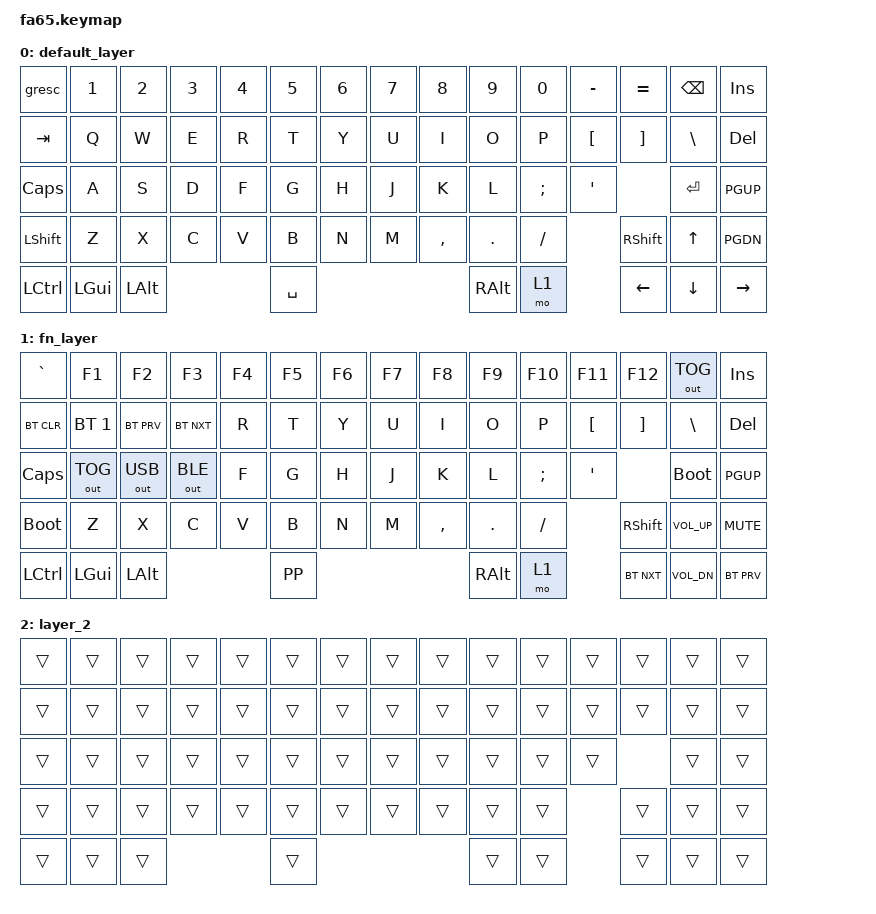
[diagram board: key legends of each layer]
/*
 * Copyright (c) 2020 The ZMK Contributors
 *
 * SPDX-License-Identifier: MIT
 */

#include <behaviors.dtsi>
#include <dt-bindings/zmk/bt.h>
#include <dt-bindings/zmk/keys.h>
#include <dt-bindings/zmk/outputs.h>

/ {
    keymap0: keymap {
        compatible = "zmk,keymap";

        default_layer {
            // ------------------------------------------------------------------------------------------
            // | ESC |  1  |  2  |  3  |  4  |  5  |  6  |  7  |  8  |  9  |  0  |  -  |  =  |   BKSP   |
            // | TAB  |  Q  |  W  |  E  |  R  |  T  |  Y  |  U  |  I  |  O  |  P  |  [  |  ]  |    \    |
            // | CAPS  |  A  |  S  |  D  |  F  |  G  |  H  |  J  |  K  |  L  |  ;  |  '  |     ENTER    |
            // |  SHIFT  |  Z  |  X  |  C  |  V  |  B  |  N  |  M  |  ,  |  .  |  /  |      SHIFT       |
            // |  CTL  |  WIN  |  ALT  |            SPACE               | ALT | MO(1) |  WIN  | CTRL    |
            // ------------------------------------------------------------------------------------------

            bindings = <
&gresc     &kp N1    &kp N2    &kp N3  &kp N4  &kp N5     &kp N6  &kp N7  &kp N8     &kp N9    &kp N0    &kp MINUS  &kp EQUAL  &kp BSPC  &kp INS
&kp TAB    &kp Q     &kp W     &kp E   &kp R   &kp T      &kp Y   &kp U   &kp I      &kp O     &kp P     &kp LBKT   &kp RBKT   &kp BSLH  &kp DEL
&kp CLCK   &kp A     &kp S     &kp D   &kp F   &kp G      &kp H   &kp J   &kp K      &kp L     &kp SEMI  &kp SQT               &kp RET   &kp PGUP
&kp LSHFT  &kp Z     &kp X     &kp C   &kp V   &kp B      &kp N   &kp M   &kp COMMA  &kp DOT   &kp FSLH             &kp RSHFT  &kp UP    &kp PGDN
&kp LCTRL  &kp LGUI  &kp LALT                  &kp SPACE                             &kp RALT  &mo 1                &kp LEFT   &kp DOWN  &kp RIGHT
            >;
        };

        fn_layer {
            bindings = <
&kp GRAVE    &kp F1        &kp F2        &kp F3        &kp F4  &kp F5    &kp F6  &kp F7  &kp F8     &kp F9    &kp F10   &kp F11   &kp F12     &out OUT_TOG  &kp INS
&bt BT_CLR   &bt BT_SEL 1  &bt BT_PRV    &bt BT_NXT    &kp R   &kp T     &kp Y   &kp U   &kp I      &kp O     &kp P     &kp LBKT  &kp RBKT    &kp BSLH      &kp DEL
&kp CLCK     &out OUT_TOG  &out OUT_USB  &out OUT_BLE  &kp F   &kp G     &kp H   &kp J   &kp K      &kp L     &kp SEMI  &kp SQT               &bootloader   &kp PGUP
&bootloader  &kp Z         &kp X         &kp C         &kp V   &kp B     &kp N   &kp M   &kp COMMA  &kp DOT   &kp FSLH            &kp RSHFT   &kp C_VOL_UP  &kp C_MUTE
&kp LCTRL    &kp LGUI      &kp LALT                            &kp K_PP                             &kp RALT  &mo 1               &bt BT_NXT  &kp C_VOL_DN  &bt BT_PRV
            >;
        };

        layer_2 {
            bindings = <
&trans  &trans  &trans  &trans  &trans  &trans  &trans  &trans  &trans  &trans  &trans  &trans  &trans  &trans  &trans
&trans  &trans  &trans  &trans  &trans  &trans  &trans  &trans  &trans  &trans  &trans  &trans  &trans  &trans  &trans
&trans  &trans  &trans  &trans  &trans  &trans  &trans  &trans  &trans  &trans  &trans  &trans          &trans  &trans
&trans  &trans  &trans  &trans  &trans  &trans  &trans  &trans  &trans  &trans  &trans          &trans  &trans  &trans
&trans  &trans  &trans                  &trans                          &trans  &trans          &trans  &trans  &trans
            >;
        };
    };
};
